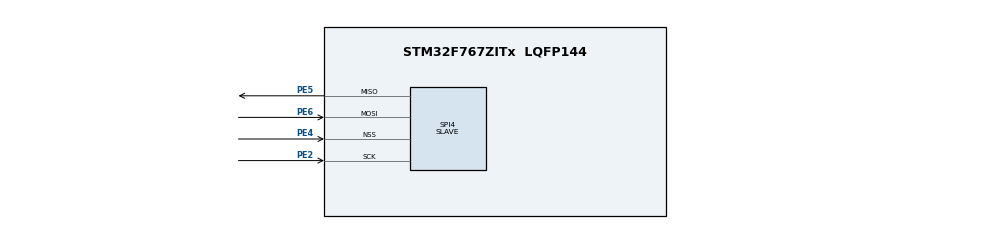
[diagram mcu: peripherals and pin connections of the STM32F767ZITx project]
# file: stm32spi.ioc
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Mcu.Family=STM32F7
SPI4.VirtualType=VM_SLAVE
SPI4.DataSize=SPI_DATASIZE_8BIT
SPI4.Direction=SPI_DIRECTION_2LINES
ProjectManager.StackSize=0x400
SPI4.Mode=SPI_MODE_SLAVE
ProjectManager.TargetToolchain=STM32CubeIDE
PE2.Mode=Full_Duplex_Slave
PE5.Signal=SPI4_MISO
RCC.USBFreq_Value=96000000
SPI4.VirtualNSS=VM_NSSHARD
RCC.LSE_VALUE=32768
RCC.HSE_VALUE=25000000
board=custom
RCC.VCOOutputFreq_Value=192000000
PE6.Mode=Full_Duplex_Slave
PE5.Mode=Full_Duplex_Slave
PE2.Signal=SPI4_SCK
PE4.Mode=NSS_Signal_Hard_Input
PE6.Signal=SPI4_MOSI
PE4.Signal=SPI4_NSS
Mcu.Name=STM32F767ZITx
Mcu.Package=LQFP144
ProjectManager.HeapSize=0x200
RCC.HSI_VALUE=16000000
NVIC.PriorityGroup=NVIC_PRIORITYGROUP_4

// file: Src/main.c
/* USER CODE BEGIN Header */
/**
  ******************************************************************************
  * @file           : main.c
  * @brief          : Main program body
  ******************************************************************************
  * @attention
  *
  * <h2><center>&copy; Copyright (c) 2021 STMicroelectronics.
  * All rights reserved.</center></h2>
  *
  * This software component is licensed by ST under BSD 3-Clause license,
  * the "License"; You may not use this file except in compliance with the
  * License. You may obtain a copy of the License at:
  *                        opensource.org/licenses/BSD-3-Clause
  *
  ******************************************************************************
  */
/* USER CODE END Header */
#include "main.h"

/* USER CODE BEGIN Includes */
#include "SEGGER_RTT.h"
/* USER CODE END Includes */

/* USER CODE BEGIN PD */
enum {
    TRANSFER_WAIT,
    TRANSFER_COMPLETE,
    TRANSFER_ERROR
};
/* USER CODE END PD */

SPI_HandleTypeDef hspi4;

void SystemClock_Config(void);

static void MX_GPIO_Init(void);

static void MX_SPI4_Init(void);

/* USER CODE BEGIN 0 */
__IO uint32_t wTransferState = TRANSFER_WAIT;
/* USER CODE END 0 */

int main(void) {

    /* MCU Configuration--------------------------------------------------------*/

    /* Reset of all peripherals, Initializes the Flash interface and the Systick. */
    HAL_Init();

    /* USER CODE BEGIN Init */
    SEGGER_RTT_ConfigUpBuffer(0, NULL, NULL, 0, SEGGER_RTT_MODE_BLOCK_IF_FIFO_FULL);
    /* USER CODE END Init */

    /* Configure the system clock */
    SystemClock_Config();

    /* Initialize all configured peripherals */
    MX_GPIO_Init();
    MX_SPI4_Init();
    /* USER CODE BEGIN 2 */
    uint8_t tx[8] = {0xff};
    uint8_t rx[8];

    SEGGER_RTT_printf(0, "Init\n");
    /* USER CODE END 2 */

    /* Infinite loop */
    /* USER CODE BEGIN WHILE */
    for (;;) {
        switch (HAL_SPI_TransmitReceive(&hspi4, (uint8_t *) tx, (uint8_t *) rx, 8, HAL_MAX_DELAY)) {
            case HAL_OK:
                for (uint8_t i = 0; i < 8; ++i) {
                    SEGGER_RTT_printf(0, "%d ", rx[i]);
                }
                SEGGER_RTT_printf(0, "\n");

                break;
            default:
                Error_Handler();
        }
    }

    while (1) {
        /* USER CODE END WHILE */

    }
}

void SystemClock_Config(void) {
    RCC_OscInitTypeDef RCC_OscInitStruct = {0};
    RCC_ClkInitTypeDef RCC_ClkInitStruct = {0};

    /** Configure the main internal regulator output voltage
    */
    __HAL_RCC_PWR_CLK_ENABLE();
    __HAL_PWR_VOLTAGESCALING_CONFIG(PWR_REGULATOR_VOLTAGE_SCALE3);
    /** Initializes the RCC Oscillators according to the specified parameters
    * in the RCC_OscInitTypeDef structure.
    */
    RCC_OscInitStruct.OscillatorType = RCC_OSCILLATORTYPE_HSI;
    RCC_OscInitStruct.HSIState = RCC_HSI_ON;
    RCC_OscInitStruct.HSICalibrationValue = RCC_HSICALIBRATION_DEFAULT;
    RCC_OscInitStruct.PLL.PLLState = RCC_PLL_NONE;
    if (HAL_RCC_OscConfig(&RCC_OscInitStruct) != HAL_OK) {
        Error_Handler();
    }
    /** Initializes the CPU, AHB and APB buses clocks
    */
    RCC_ClkInitStruct.ClockType = RCC_CLOCKTYPE_HCLK | RCC_CLOCKTYPE_SYSCLK
                                  | RCC_CLOCKTYPE_PCLK1 | RCC_CLOCKTYPE_PCLK2;
    RCC_ClkInitStruct.SYSCLKSource = RCC_SYSCLKSOURCE_HSI;
    RCC_ClkInitStruct.AHBCLKDivider = RCC_SYSCLK_DIV1;
    RCC_ClkInitStruct.APB1CLKDivider = RCC_HCLK_DIV1;
    RCC_ClkInitStruct.APB2CLKDivider = RCC_HCLK_DIV1;

    if (HAL_RCC_ClockConfig(&RCC_ClkInitStruct, FLASH_LATENCY_0) != HAL_OK) {
        Error_Handler();
    }
}

static void MX_SPI4_Init(void) {

    /* SPI4 parameter configuration*/
    hspi4.Instance = SPI4;
    hspi4.Init.BaudRatePrescaler = SPI_BAUDRATEPRESCALER_2;
    hspi4.Init.Mode = SPI_MODE_SLAVE;
    hspi4.Init.Direction = SPI_DIRECTION_2LINES;
    hspi4.Init.DataSize = SPI_DATASIZE_8BIT;
    hspi4.Init.CLKPolarity = SPI_POLARITY_LOW;
    hspi4.Init.CLKPhase = SPI_PHASE_1EDGE;
    hspi4.Init.NSS = SPI_NSS_HARD_INPUT;
    hspi4.Init.FirstBit = SPI_FIRSTBIT_MSB;
    hspi4.Init.TIMode = SPI_TIMODE_DISABLE;
    hspi4.Init.CRCCalculation = SPI_CRCCALCULATION_DISABLE;
    hspi4.Init.CRCPolynomial = 7;
    hspi4.Init.CRCLength = SPI_CRC_LENGTH_DATASIZE;
    hspi4.Init.NSSPMode = SPI_NSS_PULSE_DISABLE;
    if (HAL_SPI_Init(&hspi4) != HAL_OK) {
        Error_Handler();
    }

}

static void MX_GPIO_Init(void) {

    /* GPIO Ports Clock Enable */
    __HAL_RCC_GPIOE_CLK_ENABLE();

}

/* USER CODE BEGIN 4 */
/**
  * @brief  TxRx Transfer completed callback.
  * @param  hspi: SPI handle
  * @note   This example shows a simple way to report end of Interrupt TxRx transfer, and
  *         you can add your own implementation.
  * @retval None
  */
void HAL_SPI_TxRxCpltCallback(SPI_HandleTypeDef *hspi) {
    wTransferState = TRANSFER_COMPLETE;
}

/**
  * @brief  SPI error callbacks.
  * @param  hspi: SPI handle
  * @note   This example shows a simple way to report transfer error, and you can
  *         add your own implementation.
  * @retval None
  */
void HAL_SPI_ErrorCallback(SPI_HandleTypeDef *hspi) {
    wTransferState = TRANSFER_ERROR;
}
/* USER CODE END 4 */

void Error_Handler(void) {
    /* USER CODE BEGIN Error_Handler_Debug */
    /* User can add his own implementation to report the HAL error return state */
    SEGGER_RTT_printf(0, "Error occurred\n");
    __disable_irq();
    while (1) {
    }
    /* USER CODE END Error_Handler_Debug */
}

/************************ (C) COPYRIGHT STMicroelectronics *****END OF FILE****/
